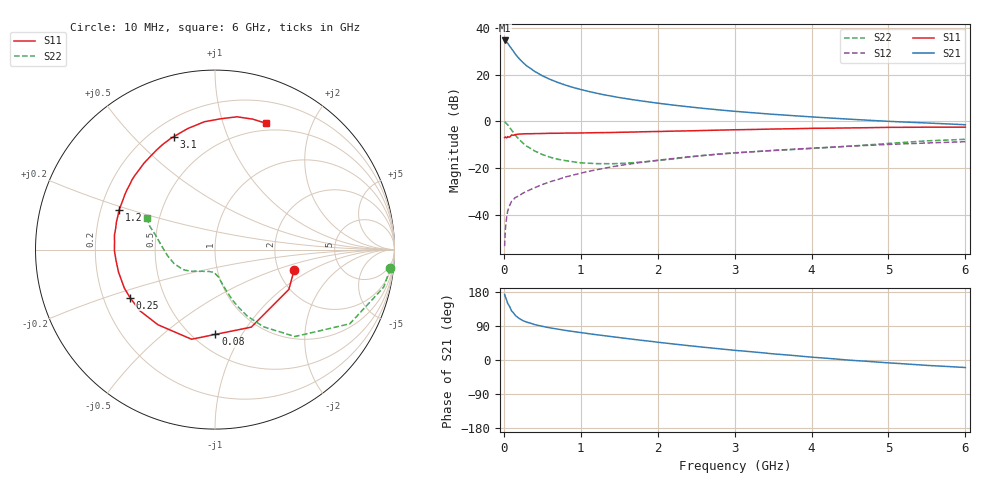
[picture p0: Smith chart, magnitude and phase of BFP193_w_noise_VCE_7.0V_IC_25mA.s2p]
! Infineon Technologies  Discrete & RF Semiconductors
! BFP193
! VCE =  7.0 V,  IC =  25 mA
! Common Emitter S-Parameters:  Jan 2017
# GHz  S  MA  R  50
!  f  S11  S21  S12  S22
! GHz  MAG  ANG  MAG  ANG  MAG  ANG  MAG  ANG
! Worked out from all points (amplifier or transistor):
!   77 points, 10 MHz to 6 GHz, reference 50 ohm
!   highest |S21| = 34.5 dB at 10 MHz (marker M1)
!   |S21| within 3 dB of that: start of sweep to 88.42 MHz
!   unconditionally stable (mu >= 1): 822.6 MHz to 2.499 GHz
!   at 130 MHz: K = 0.42, MSG = 31.4 dB, |S12| = -33.1 dB
!   at 2.2 GHz: K = 1.01, MAG = 10.7 dB, |S12| = -15.8 dB
!   at 6 GHz: K = 0.90, MSG = 3.6 dB, |S12| = -8.6 dB
!   lowest NFmin = 1.12 dB at 450 MHz
!   S11 on the Smith chart (normalised r, x): 10 MHz: 2.44, -0.69; 80 MHz: 0.64, -0.78; 250 MHz: 0.31, -0.24; 1.2 GHz: 0.28, +0.18; 3.1 GHz: 0.29, +0.66; 6 GHz: 0.42, +1.40
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0.01  0.4553 -14.2  53.39 173.0  0.0022 82.7  0.9825 -6.1
0.02  0.4675 -28.3  52.91 166.8  0.005 82.1  0.9627 -12.6
0.05  0.4769 -64.9  46.73 149.5  0.0124 68.3  0.8574 -28.8
0.08  0.4723 -89.7  39.51 138.9  0.0168 61.7  0.7281 -38.8
0.1  0.5162 -104.7  35.7 129.6  0.0198 59.0  0.6579 -47.4
0.15  0.5257 -127.2  27.31 117.4  0.0239 53.7  0.5084 -57.8
0.2  0.5394 -140.7  21.79 109.5  0.0262 53.2  0.4115 -64.1
0.25  0.5439 -150.5  17.97 103.7  0.0299 53.0  0.3443 -68.0
0.3  0.5488 -157.1  15.22 99.7  0.0326 54.4  0.2958 -71.0
0.4  0.5519 -166.8  11.69 93.4  0.0387 57.0  0.2352 -74.8
0.5  0.555 -173.9  9.426 88.8  0.0452 59.4  0.198 -77.7
0.6  0.5605 -179.5  7.922 84.8  0.0519 61.0  0.1736 -80.3
0.7  0.5612 176.0  6.808 81.5  0.0579 61.8  0.1567 -82.2
0.9  0.5659 167.9  5.316 75.2  0.0722 62.6  0.1387 -87.6
1.1  0.5724 161.0  4.383 69.6  0.0864 62.1  0.1291 -93.0
1.2  0.578 157.7  4.025 66.8  0.0934 61.4  0.1266 -96.0
1.6  0.5929 145.8  3.052 56.6  0.1219 58.8  0.1299 -110.3
2.1  0.6168 132.0  2.348 44.7  0.1558 53.8  0.1531 -128.0
3.1  0.6699 110.0  1.602 23.9  0.2187 42.6  0.2199 -152.9
4.1  0.7168 93.3  1.225 6.0  0.2756 31.5  0.2715 -175.0
5.1  0.7504 79.3  0.991 -8.8  0.3285 20.3  0.3493 165.0
6  0.7591 67.9  0.854 -19.9  0.3707 10.3  0.417 155.2
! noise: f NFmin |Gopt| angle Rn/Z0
0.45  1.12  0.3  -176  0.36
0.9  1.19  0.37  -175  0.07
1.9  1.81  0.57  -138  0.16
2.4  2.15  0.62  -122  0.35
